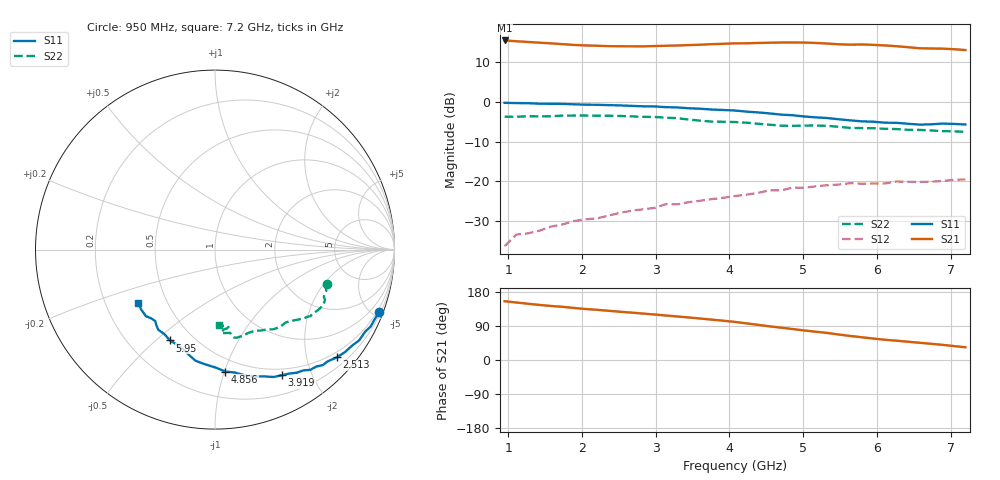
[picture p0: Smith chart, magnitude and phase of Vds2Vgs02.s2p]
!Keysight Technologies,M9375A,US54320202,A.12.55.09
!Date: Monday, July 10, 2023 14:26:19
!Correction: S11(Full 2 Port(1,2))
!S21(Full 2 Port(1,2))
!S12(Full 2 Port(1,2))
!S22(Full 2 Port(1,2))
!S2P File: Measurements: S11, S21, S12, S22:
# Hz S  RI  R 50
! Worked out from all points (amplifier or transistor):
!   41 points, 950 MHz to 7.2 GHz, reference 50 ohm
!   highest |S21| = 15.6 dB at 950 MHz (marker M1)
!   |S21| within 3 dB of that: start of sweep to end of sweep
!   unconditionally stable (mu >= 1): nowhere
!   at 1.887 GHz: K = 0.40, MSG = 22.2 dB, |S12| = -30.1 dB
!   at 4.075 GHz: K = 0.65, MSG = 19.3 dB, |S12| = -23.7 dB
!   at 7.2 GHz: K = 0.91, MSG = 16.3 dB, |S12| = -19.5 dB
!   S11 on the Smith chart (normalised r, x): 950 MHz: 0.34, -5.41; 2.513 GHz: 0.38, -2.59; 3.919 GHz: 0.42, -1.59; 4.856 GHz: 0.40, -1.01; 5.95 GHz: 0.37, -0.56; 7.2 GHz: 0.34, -0.28
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9.5e8  0.9139 -0.3485  -5.436 2.521  0.00303 0.0148  0.6253 -0.189
1.10625e9  0.8893 -0.389  -5.162 2.767  0.00583 0.0204  0.6172 -0.2081
1.41875e9  0.8365 -0.4577  -4.626 3.189  0.00899 0.0219  0.6118 -0.2444
2.04375e9  0.7447 -0.5517  -3.639 3.696  0.0172 0.0281  0.6024 -0.3057
2.5125e9  0.6799 -0.6003  -3.07 4.023  0.0226 0.0328  0.5776 -0.334
2.825e9  0.6244 -0.6247  -2.712 4.255  0.0277 0.0345  0.5449 -0.3555
3.1375e9  0.5641 -0.6515  -2.361 4.556  0.033 0.0394  0.5122 -0.3753
3.60625e9  0.4544 -0.6863  -1.762 4.996  0.04 0.0404  0.4254 -0.3971
3.91875e9  0.3742 -0.6996  -1.281 5.282  0.0479 0.0392  0.3728 -0.4224
4.075e9  0.3274 -0.7098  -1.007 5.419  0.0501 0.0414  0.3511 -0.4352
4.54375e9  0.1637 -0.6996  0.1203 5.609  0.0649 0.0411  0.2531 -0.4513
4.85625e9  0.0566 -0.6792  0.8195 5.586  0.0737 0.0383  0.1844 -0.4652
5.16875e9  -0.0587 -0.6379  1.48 5.372  0.0807 0.0306  0.1207 -0.4909
5.325e9  -0.1086 -0.619  1.743 5.194  0.0843 0.0293  0.1055 -0.4893
5.6375e9  -0.169 -0.5626  2.369 4.742  0.0909 0.0262  0.0845 -0.4639
5.79375e9  -0.2114 -0.5298  2.664 4.62  0.0906 0.0216  0.0647 -0.4644
5.95e9  -0.2511 -0.5059  2.899 4.403  0.0919 0.018  0.0447 -0.4656
6.10625e9  -0.2822 -0.4707  3.088 4.165  0.093 0.0104  0.0337 -0.4579
6.2625e9  -0.3166 -0.4458  3.194 3.944  0.0992 0.00572  0.0385 -0.4543
6.575e9  -0.3326 -0.3984  3.344 3.412  0.0979 0.00138  0.0658 -0.4402
6.8875e9  -0.3848 -0.3709  3.616 3.037  0.1007 -0.001  0.0629 -0.4251
7.2e9  -0.4285 -0.2959  3.779 2.507  0.1046 -0.0131  0.022 -0.4196
